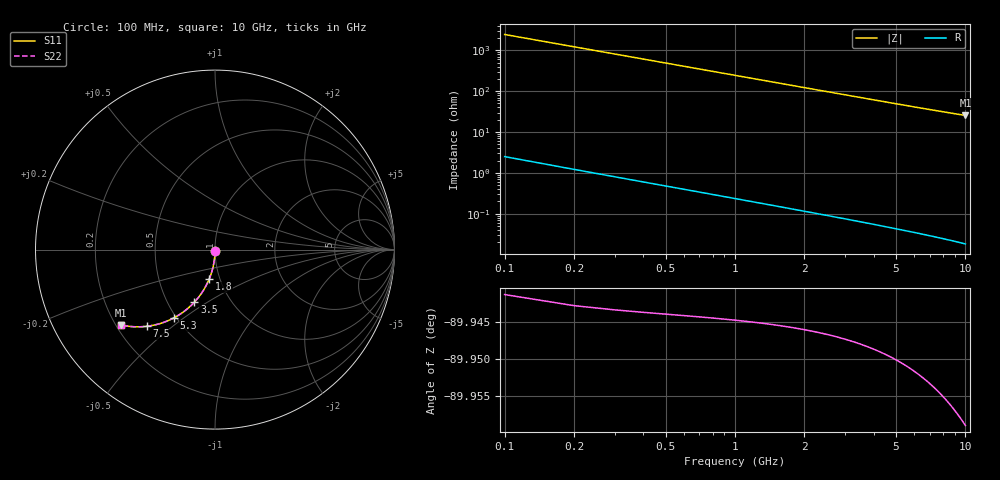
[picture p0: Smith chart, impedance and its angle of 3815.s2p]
# Hz S RI R 50.00
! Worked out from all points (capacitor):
!   100 points, 100 MHz to 10 GHz, reference 50 ohm
!   read as one part in shunt: C = 652 fF near 100 MHz
!   lowest |Z| = 25.5 ohm at 10 GHz (marker M1)
!   S11 on the Smith chart (normalised r, x): 100 MHz: 1.00, -0.02; 1.8 GHz: 0.89, -0.30; 3.5 GHz: 0.68, -0.44; 5.3 GHz: 0.48, -0.46; 7.5 GHz: 0.32, -0.41; 10 GHz: 0.22, -0.34
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1e8  0.000138 -0.00947  0.9996 -0.011  0.9996 -0.011  0.000138 -0.00947
2e8  -0.000183 -0.0189  0.9993 -0.022  0.9993 -0.022  -0.000183 -0.0189
3e8  -0.000712 -0.0284  0.9988 -0.033  0.9988 -0.033  -0.000712 -0.0284
4e8  -0.00145 -0.0378  0.998 -0.0439  0.998 -0.0439  -0.00145 -0.0378
5e8  -0.00239 -0.0473  0.9971 -0.0549  0.9971 -0.0549  -0.00239 -0.0473
6e8  -0.00354 -0.0566  0.9959 -0.0658  0.9959 -0.0658  -0.00354 -0.0566
8e8  -0.00645 -0.0753  0.993 -0.0875  0.993 -0.0875  -0.00645 -0.0753
1.1e9  -0.0123 -0.1029  0.987 -0.1196  0.987 -0.1196  -0.0123 -0.1029
1.4e9  -0.0199 -0.1299  0.9793 -0.1512  0.9793 -0.1512  -0.0199 -0.1299
1.8e9  -0.0327 -0.1648  0.9664 -0.1922  0.9664 -0.1922  -0.0327 -0.1648
2.1e9  -0.0441 -0.1899  0.9549 -0.2219  0.9549 -0.2219  -0.0441 -0.1899
2.5e9  -0.0615 -0.2217  0.9373 -0.2599  0.9373 -0.2599  -0.0615 -0.2217
2.9e9  -0.0811 -0.2516  0.9173 -0.2959  0.9173 -0.2959  -0.0811 -0.2516
3.4e9  -0.1085 -0.2857  0.8896 -0.3377  0.8896 -0.3377  -0.1085 -0.2857
3.5e9  -0.1143 -0.2921  0.8837 -0.3457  0.8837 -0.3457  -0.1143 -0.2921
4.3e9  -0.1637 -0.3377  0.8336 -0.4037  0.8336 -0.4037  -0.1637 -0.3377
5.1e9  -0.2167 -0.3735  0.7797 -0.4519  0.7797 -0.4519  -0.2167 -0.3735
5.3e9  -0.2303 -0.3809  0.7658 -0.4625  0.7658 -0.4625  -0.2303 -0.3809
6.7e9  -0.3255 -0.4173  0.6685 -0.521  0.6685 -0.521  -0.3255 -0.4173
7.5e9  -0.3783 -0.427  0.6143 -0.5436  0.6143 -0.5436  -0.3783 -0.427
8.4e9  -0.4345 -0.4302  0.5562 -0.5613  0.5562 -0.5613  -0.4345 -0.4302
1e10  -0.5244 -0.4197  0.4625 -0.5773  0.4625 -0.5773  -0.5244 -0.4197
